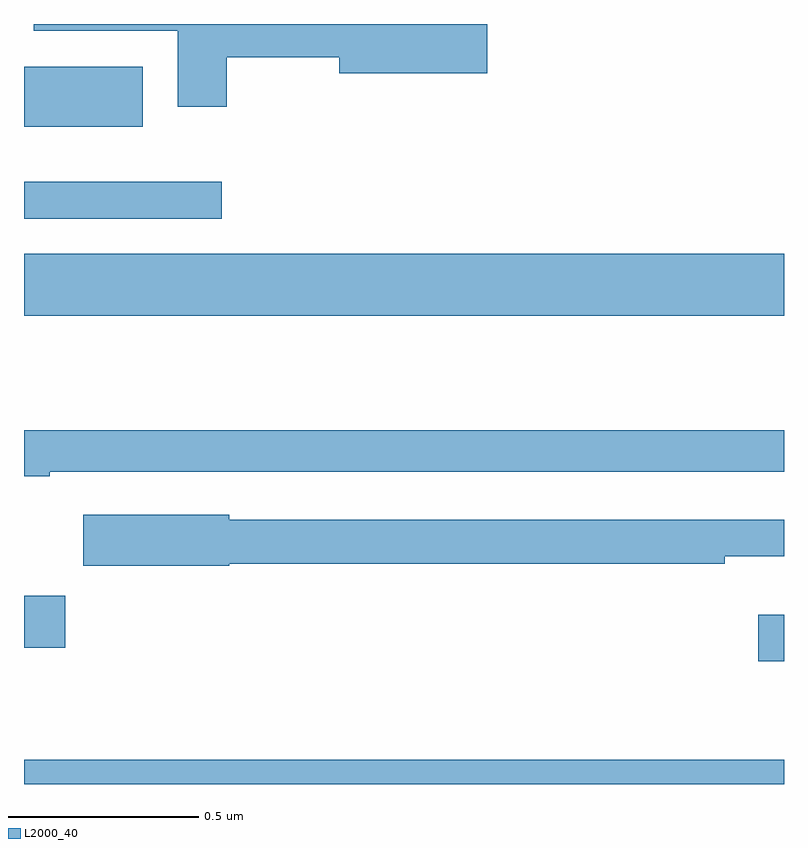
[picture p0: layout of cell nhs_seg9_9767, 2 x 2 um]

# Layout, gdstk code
import gdstk
lib = gdstk.Library(unit=1e-6, precision=1e-09)
def R(c, l, rs):  # rectangles x0, y0, x1, y1
    for r in rs: c.add(gdstk.rectangle(r[:2], r[2:], *l))
def P(c, l, *ps):  # polygons
    for p in ps: c.add(gdstk.Polygon(p, *l))
L2000_40 = (2000, 40)

nhs_seg9_9767 = lib.new_cell('nhs_seg9_9767')
R(nhs_seg9_9767, L2000_40, [(234,1216.5,236,1216.564), (235.932,1216.823,236,1216.945), (234,1216.858,234.109,1216.995), (234,1217.732,236,1217.896), (234,1217.988,234.52,1218.085), (234,1218.23,234.313,1218.388)])
P(nhs_seg9_9767, L2000_40, [(234.534,1218.412),(234.83,1218.412),(234.83,1218.37),(235.219,1218.37),(235.219,1218.5),(234.025,1218.5),(234.025,1218.482),(234.404,1218.482),(234.404,1218.282),(234.534,1218.282)],
  [(234.068,1217.322),(236,1217.322),(236,1217.431),(234,1217.431),(234,1217.31),(234.068,1217.31)],
  [(234.54,1217.08),(235.844,1217.08),(235.844,1217.1),(236,1217.1),(236,1217.196),(234.54,1217.196),(234.54,1217.209),(234.156,1217.209),(234.156,1217.075),(234.54,1217.075)])

lib.write_gds('nhs_seg9_9767.gds')
